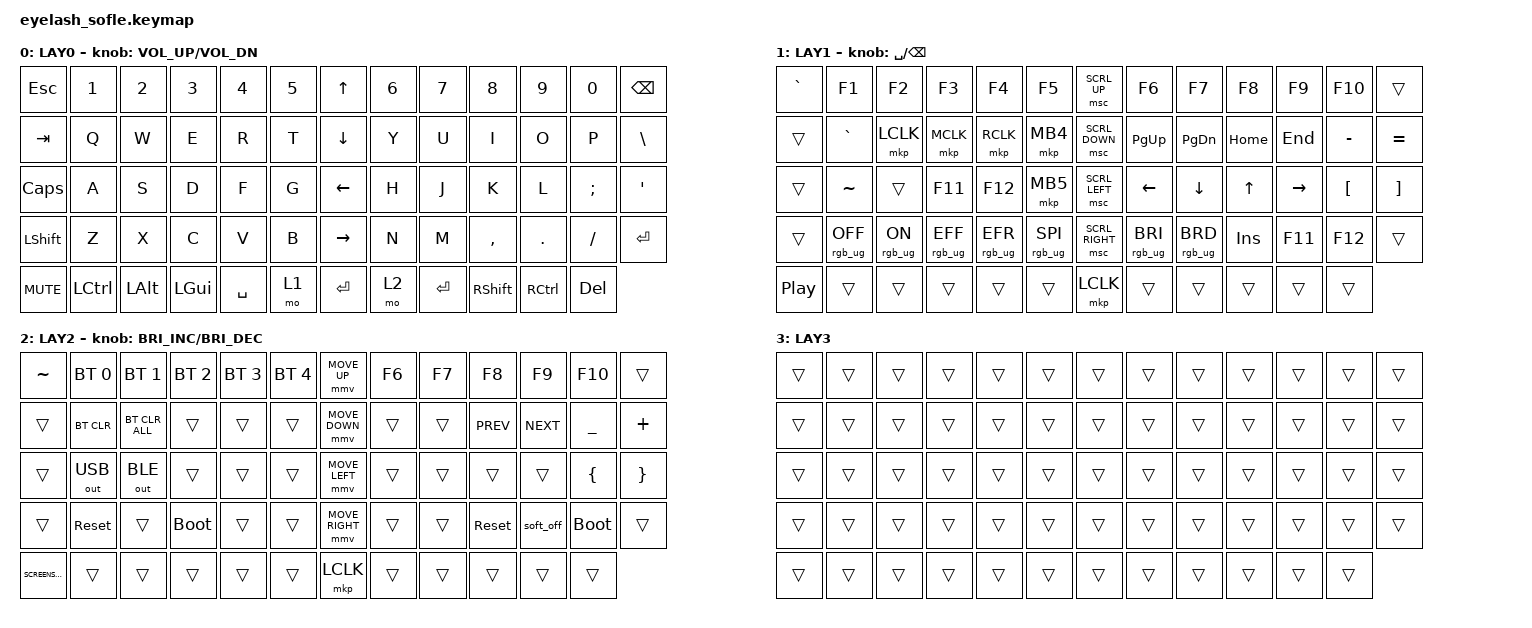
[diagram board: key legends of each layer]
#define ZMK_POINTING_DEFAULT_MOVE_VAL 1200  // 600
#define ZMK_POINTING_DEFAULT_SCRL_VAL 35    // 10

#include <input/processors.dtsi>
#include <zephyr/dt-bindings/input/input-event-codes.h>
#include <behaviors.dtsi>
#include <dt-bindings/zmk/bt.h>
#include <dt-bindings/zmk/keys.h>
#include <dt-bindings/zmk/outputs.h>
#include <dt-bindings/zmk/pointing.h>
#include <dt-bindings/zmk/rgb.h>

/ {
    zip_scroll_scaler: zip_scroll_scaler {
        compatible = "zmk,input-processor-scaler";
        #input-processor-cells = <2>;
        type = <INPUT_EV_REL>;
        codes = <INPUT_REL_WHEEL INPUT_REL_HWHEEL>;
        track-remainders;
    };
};

&mmv_input_listener { input-processors = <&zip_xy_scaler 2 1>; };

&msc_input_listener { input-processors = <&zip_scroll_scaler 2 1>; };

&msc {
    acceleration-exponent = <0>;      // 0
    time-to-max-speed-ms = <0>;       // 300
    delay-ms = <0>;                   // 0
};

&mmv {
    time-to-max-speed-ms = <400>;
    acceleration-exponent = <1>;
};

/ {
    scroll_encoder: scroll_encoder {
        compatible = "zmk,behavior-sensor-rotate";
        #sensor-binding-cells = <0>;
        bindings = <&msc SCRL_DOWN>, <&msc SCRL_UP>;

        tap-ms = <30>;
    };

    macros {
        shift_MB3: shift_MB3 {
            compatible = "zmk,behavior-macro";
            #binding-cells = <0>;
            bindings =
                <&macro_press>,
                <&kp LEFT_SHIFT>,
                <&macro_press>,
                <&mkp MB3>,
                <&macro_pause_for_release>,
                <&macro_release>,
                <&mkp MB3 &kp LEFT_SHIFT>;

            label = "SHIFT_MB3";
        };
    };

    behaviors {
    };

    keymap {
        compatible = "zmk,keymap";

        layer_0 {
            bindings = <
&kp ESC     &kp N1     &kp N2    &kp N3        &kp N4     &kp N5    &kp UP_ARROW     &kp N6  &kp N7     &kp N8      &kp N9     &kp N0      &kp BACKSPACE
&kp TAB     &kp Q      &kp W     &kp E         &kp R      &kp T     &kp DOWN_ARROW   &kp Y   &kp U      &kp I       &kp O      &kp P       &kp BSLH
&kp CAPS    &kp A      &kp S     &kp D         &kp F      &kp G     &kp LEFT_ARROW   &kp H   &kp J      &kp K       &kp L      &kp SEMI    &kp APOS
&kp LSHFT   &kp Z      &kp X     &kp C         &kp V      &kp B     &kp RIGHT_ARROW  &kp N   &kp M      &kp COMMA   &kp DOT    &kp FSLH    &kp ENTER
&kp C_MUTE  &kp LCTRL  &kp LALT  &kp LEFT_GUI  &kp SPACE  &mo 1     &kp ENTER        &mo 2   &kp ENTER  &kp RSHIFT  &kp RCTRL  &kp DELETE
            >;

            sensor-bindings = <&inc_dec_kp C_VOL_UP C_VOL_DN>;
            label = "LAY0";
        };

        layer_1 {
            bindings = <
&kp GRAVE         &kp F1           &kp F2          &kp F3           &kp F4           &kp F5             &msc SCRL_UP     &kp F6           &kp F7           &kp F8      &kp F9     &kp F10           &trans
&trans            &kp GRAVE        &mkp LCLK       &mkp MCLK        &mkp RCLK        &mkp MB4           &msc SCRL_DOWN   &kp PG_UP        &kp PG_DN        &kp HOME    &kp END    &kp MINUS         &kp EQUAL
&trans            &kp TILDE        &trans          &kp F11          &kp F12          &mkp MB5           &msc SCRL_LEFT   &kp LEFT         &kp DOWN         &kp UP      &kp RIGHT  &kp LEFT_BRACKET  &kp RIGHT_BRACKET
&trans            &rgb_ug RGB_OFF  &rgb_ug RGB_ON  &rgb_ug RGB_EFF  &rgb_ug RGB_EFR  &rgb_ug RGB_SPI    &msc SCRL_RIGHT  &rgb_ug RGB_BRI  &rgb_ug RGB_BRD  &kp INSERT  &kp F11    &kp F12           &trans
&kp C_PLAY_PAUSE  &trans           &trans          &trans           &trans           &trans             &mkp LCLK        &trans           &trans           &trans      &trans     &trans
            >;

            sensor-bindings = <&inc_dec_kp SPACE BACKSPACE>;
            label = "LAY1";
        };

        layer_2 {
            bindings = <
&kp TILDE          &bt BT_SEL 0  &bt BT_SEL 1    &bt BT_SEL 2  &bt BT_SEL 3  &bt BT_SEL 4    &mmv MOVE_UP     &kp F6  &kp F7  &kp F8      &kp F9      &kp F10      &trans
&trans             &bt BT_CLR    &bt BT_CLR_ALL  &trans        &trans        &trans          &mmv MOVE_DOWN   &trans  &trans  &kp C_PREV  &kp C_NEXT  &kp UNDER    &kp PLUS
&trans             &out OUT_USB  &out OUT_BLE    &trans        &trans        &trans          &mmv MOVE_LEFT   &trans  &trans  &trans      &trans      &kp LBRC     &kp RBRC
&trans             &sys_reset    &trans          &bootloader   &trans        &trans          &mmv MOVE_RIGHT  &trans  &trans  &sys_reset  &soft_off   &bootloader  &trans
&kp K_SCREENSAVER  &trans        &trans          &trans        &trans        &trans          &mkp LCLK        &trans  &trans  &trans      &trans      &trans
            >;

            sensor-bindings = <&inc_dec_kp C_BRI_INC C_BRI_DEC>;
            label = "LAY2";
        };

        layer_3 {
            bindings = <
&trans  &trans  &trans  &trans  &trans  &trans    &trans  &trans  &trans  &trans  &trans  &trans  &trans
&trans  &trans  &trans  &trans  &trans  &trans    &trans  &trans  &trans  &trans  &trans  &trans  &trans
&trans  &trans  &trans  &trans  &trans  &trans    &trans  &trans  &trans  &trans  &trans  &trans  &trans
&trans  &trans  &trans  &trans  &trans  &trans    &trans  &trans  &trans  &trans  &trans  &trans  &trans
&trans  &trans  &trans  &trans  &trans  &trans    &trans  &trans  &trans  &trans  &trans  &trans
            >;

            label = "LAY3";
        };
    };

    conditional_layers {
        compatible = "zmk,conditional-layers";

        LAY3 {
            if-layers = <1 2>;
            then-layer = <3>;
        };
    };
};
